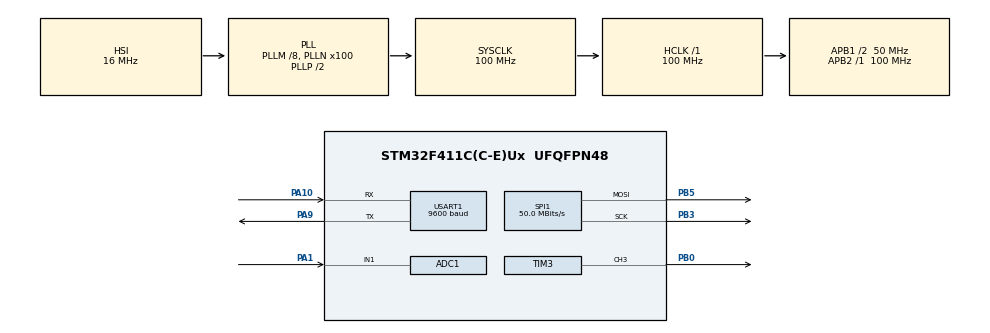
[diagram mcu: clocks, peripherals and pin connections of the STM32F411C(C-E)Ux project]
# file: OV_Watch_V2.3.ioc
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ADC1.Channel-0\#ChannelRegularConversion=ADC_CHANNEL_1
ADC1.NbrOfConversionFlag=1
ADC1.Rank-0\#ChannelRegularConversion=1
ADC1.SamplingTime-0\#ChannelRegularConversion=ADC_SAMPLETIME_3CYCLES
ADC1.master=1
Dma.Request0=SPI1_TX
Dma.Request1=USART1_RX
Dma.Request2=USART1_TX
Dma.SPI1_TX.0.Direction=DMA_MEMORY_TO_PERIPH
Dma.SPI1_TX.0.FIFOMode=DMA_FIFOMODE_DISABLE
Dma.SPI1_TX.0.Instance=DMA2_Stream2
Dma.SPI1_TX.0.MemDataAlignment=DMA_MDATAALIGN_HALFWORD
Dma.SPI1_TX.0.MemInc=DMA_MINC_ENABLE
Dma.SPI1_TX.0.Mode=DMA_NORMAL
Dma.SPI1_TX.0.PeriphDataAlignment=DMA_PDATAALIGN_HALFWORD
Dma.SPI1_TX.0.PeriphInc=DMA_PINC_DISABLE
Dma.SPI1_TX.0.Priority=DMA_PRIORITY_LOW
Dma.USART1_RX.1.Direction=DMA_PERIPH_TO_MEMORY
Dma.USART1_RX.1.FIFOMode=DMA_FIFOMODE_DISABLE
Dma.USART1_RX.1.Instance=DMA2_Stream5
Dma.USART1_RX.1.MemDataAlignment=DMA_MDATAALIGN_BYTE
Dma.USART1_RX.1.MemInc=DMA_MINC_ENABLE
Dma.USART1_RX.1.Mode=DMA_NORMAL
Dma.USART1_RX.1.PeriphDataAlignment=DMA_PDATAALIGN_BYTE
Dma.USART1_RX.1.PeriphInc=DMA_PINC_DISABLE
Dma.USART1_RX.1.Priority=DMA_PRIORITY_LOW
Dma.USART1_TX.2.Direction=DMA_MEMORY_TO_PERIPH
Dma.USART1_TX.2.FIFOMode=DMA_FIFOMODE_DISABLE
Dma.USART1_TX.2.Instance=DMA2_Stream7
Dma.USART1_TX.2.MemDataAlignment=DMA_MDATAALIGN_BYTE
Dma.USART1_TX.2.MemInc=DMA_MINC_ENABLE
Dma.USART1_TX.2.Mode=DMA_NORMAL
Dma.USART1_TX.2.PeriphDataAlignment=DMA_PDATAALIGN_BYTE
Dma.USART1_TX.2.PeriphInc=DMA_PINC_DISABLE
Dma.USART1_TX.2.Priority=DMA_PRIORITY_LOW
FREERTOS.Tasks01=defaultTask,24,128,StartDefaultTask,Default,NULL,Dynamic,NULL,NULL
FREERTOS.configUSE_IDLE_HOOK=1
FREERTOS.configUSE_TICK_HOOK=1
Mcu.Family=STM32F4
Mcu.Name=STM32F411C(C-E)Ux
Mcu.Package=UFQFPN48
NVIC.DMA2_Stream2_IRQn=true\:5\:0\:false\:false\:true\:true\:false\:true\:true
NVIC.DMA2_Stream5_IRQn=true\:5\:0\:false\:false\:true\:true\:false\:true\:true
NVIC.DMA2_Stream7_IRQn=true\:5\:0\:false\:false\:true\:true\:false\:true\:true
NVIC.PriorityGroup=NVIC_PRIORITYGROUP_4
NVIC.RTC_WKUP_IRQn=true\:5\:0\:false\:false\:true\:true\:true\:true\:true
NVIC.TIM1_UP_TIM10_IRQn=true\:15\:0\:false\:false\:true\:false\:false\:true\:true
NVIC.TimeBase=TIM1_UP_TIM10_IRQn
NVIC.TimeBaseIP=TIM1
NVIC.USART1_IRQn=true\:5\:0\:false\:false\:true\:true\:true\:true\:true
PA1.Signal=ADCx_IN1
PA10.Mode=Asynchronous
PA10.Signal=USART1_RX
PA13.Mode=Serial_Wire
PA13.Signal=SYS_JTMS-SWDIO
PA14.Mode=Serial_Wire
PA14.Signal=SYS_JTCK-SWCLK
PA9.Mode=Asynchronous
PA9.Signal=USART1_TX
PB0.Signal=S_TIM3_CH3
PB3.Mode=TX_Only_Simplex_Unidirect_Master
PB3.Signal=SPI1_SCK
PB5.Mode=TX_Only_Simplex_Unidirect_Master
PB5.Signal=SPI1_MOSI
PC14-OSC32_IN.Mode=LSE-External-Oscillator
PC14-OSC32_IN.Signal=RCC_OSC32_IN
PC15-OSC32_OUT.Mode=LSE-External-Oscillator
PC15-OSC32_OUT.Signal=RCC_OSC32_OUT
ProjectManager.HeapSize=0x200
ProjectManager.StackSize=0x400
ProjectManager.TargetToolchain=MDK-ARM V5.32
RCC.48MHZClocksFreq_Value=50000000
RCC.AHBFreq_Value=100000000
RCC.APB1CLKDivider=RCC_HCLK_DIV2
RCC.APB1Freq_Value=50000000
RCC.APB1TimFreq_Value=100000000
RCC.APB2Freq_Value=100000000
RCC.APB2TimFreq_Value=100000000
RCC.CortexFreq_Value=100000000
RCC.HCLKFreq_Value=100000000
RCC.HSE_VALUE=25000000
RCC.HSI_VALUE=16000000
RCC.PLLM=8
RCC.PLLN=100
RCC.RCC_RTC_Clock_Source=RCC_RTCCLKSOURCE_LSE
RCC.RCC_RTC_Clock_SourceVirtual=RCC_RTCCLKSOURCE_LSE
RCC.SYSCLKFreq_VALUE=100000000
RCC.SYSCLKSource=RCC_SYSCLKSOURCE_PLLCLK
RCC.VCOOutputFreq_Value=200000000
RTC.Date=21
RTC.Hours=11
RTC.Minutes=59
RTC.Month=RTC_MONTH_MAY
RTC.Seconds=55
RTC.WakeUpClock=RTC_WAKEUPCLOCK_RTCCLK_DIV16
RTC.WakeUpCounter=2000
RTC.WeekDay=RTC_WEEKDAY_SUNDAY
RTC.Year=23
SH.ADCx_IN1.0=ADC1_IN1,IN1
SH.S_TIM3_CH3.0=TIM3_CH3,PWM Generation3 CH3
SPI1.CLKPhase=SPI_PHASE_2EDGE
SPI1.CLKPolarity=SPI_POLARITY_HIGH
SPI1.CalculateBaudRate=50.0 MBits/s
SPI1.Direction=SPI_DIRECTION_2LINES
SPI1.Mode=SPI_MODE_MASTER
SPI1.VirtualType=VM_MASTER
TIM3.Channel-PWM\ Generation3\ CH3=TIM_CHANNEL_3
TIM3.Period=300
TIM3.Prescaler=99
USART1.BaudRate=9600
USART1.VirtualMode=VM_ASYNC
VP_FREERTOS_VS_CMSIS_V2.Mode=CMSIS_V2
VP_RTC_VS_RTC_Activate.Mode=RTC_Enabled
VP_RTC_VS_RTC_Calendar.Mode=RTC_Calendar
VP_RTC_VS_RTC_WakeUp_intern.Mode=WakeUp
VP_SYS_VS_tim1.Mode=TIM1
board=custom

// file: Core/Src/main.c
/* USER CODE BEGIN Header */
/**
  ******************************************************************************
  * @file           : main.c
  * @brief          : Main program body
  ******************************************************************************
  * @attention
  *
  * Copyright (c) 2023 STMicroelectronics.
  * All rights reserved.
  *
  * This software is licensed under terms that can be found in the LICENSE file
  * in the root directory of this software component.
  * If no LICENSE file comes with this software, it is provided AS-IS.
  *
  ******************************************************************************
  */
/* USER CODE END Header */
#include "main.h"
#include "cmsis_os.h"
#include "adc.h"
#include "dma.h"
#include "rtc.h"
#include "spi.h"
#include "tim.h"
#include "usart.h"
#include "gpio.h"

/* USER CODE BEGIN Includes */
#include "stm32f4xx_it.h"
#include "delay.h"
#include "lcd.h"
#include "lcd_init.h"
#include "CST816.h"
#include "SPL06_001.h"
#include "LSM303.h"
#include "mpu6050.h"
#include "AHT21.h"
#include "em70x8.h"
#include "BL24C02.h"
#include "power.h"
#include "key.h"
#include "KT6328.h"
#include "inv_mpu_dmp_motion_driver.h"
//gui
#include "lvgl.h"
#include "lv_port_disp.h"
#include "lv_port_indev.h"
#include "ui.h"
//
#include "user_MPUCheckTask.h"

/* USER CODE END Includes */

/* USER CODE BEGIN PV */
uint8_t Sensor_LSM303_Erro=1;
uint8_t Sensor_AHT21_Erro=1;
uint8_t Sensor_SPL_Erro=1;
uint8_t Sensor_EM_Erro=1;
uint8_t Sensor_MPU_Erro=1;
/* USER CODE END PV */

void SystemClock_Config(void);
void MX_FREERTOS_Init(void);

int main(void)
{

  /* MCU Configuration--------------------------------------------------------*/

  /* Reset of all peripherals, Initializes the Flash interface and the Systick. */
  HAL_Init();

  /* Configure the system clock */
  SystemClock_Config();

  /* Initialize all configured peripherals */
  MX_GPIO_Init();
  MX_DMA_Init();
  MX_ADC1_Init();
  MX_RTC_Init();
  MX_SPI1_Init();
  MX_TIM3_Init();
  MX_USART1_UART_Init();
  /* USER CODE BEGIN 2 */
	//RTC Wake
	if (HAL_RTCEx_SetWakeUpTimer_IT(&hrtc, 1500, RTC_WAKEUPCLOCK_RTCCLK_DIV16) != HAL_OK)
  {
    Error_Handler();
  }
	//usart start
	HAL_UART_Receive_DMA(&huart1,(uint8_t*)HardInt_receive_str,25);
	__HAL_UART_ENABLE_IT(&huart1,UART_IT_IDLE);

	//PWM Start
	HAL_TIM_PWM_Start(&htim3,TIM_CHANNEL_3);

	//sys delay
	delay_init();
	//wait
	delay_ms(3000);

	//power
	Power_Init();

	//key
	Key_Port_Init();

	//sensor
	Sensor_AHT21_Erro  = AHT_Init();
	Sensor_LSM303_Erro = LSM303DLH_Init();
	LSM303DLH_Sleep();
	Sensor_SPL_Erro = SPL_init();
	Sensor_MPU_Erro = MPU_Init();
	Sensor_EM_Erro = EM7028_hrs_init();
	EM7028_hrs_DisEnable();

	if(!Sensor_MPU_Erro)
	{
		if(MPU_isHorizontal())
			user_MPU_Wrist_State = WRIST_UP;
		else
			user_MPU_Wrist_State = WRIST_DOWN;
		dmp_set_pedometer_step_count(0);
	}

	//BLE
	KT6328_GPIO_Init();
	KT6328_Enable();

	//touch
	CST816_GPIO_Init();
	CST816_RESET();

	//lcd
	LCD_Init();
	LCD_Fill(0,0,LCD_W,LCD_H,BLACK);
	delay_ms(10);
	LCD_Set_Light(50);
	LCD_ShowString(72,LCD_H/2,(uint8_t*)"Welcome!",WHITE,BLACK,24,0);//12*6,16*8,24*12,32*16
	LCD_ShowString(42,LCD_H/2+48,(uint8_t*)"OV-Watch V2.3",WHITE,BLACK,24,0);
	delay_ms(1000);
	LCD_Fill(0,LCD_H/2-24,LCD_W,LCD_H/2+49,BLACK);

	//set the KT6328 BautRate 9600
	//default is 115200
	//printf("AT+CT01\r\n");

	//LVGL init
	lv_init();
	lv_port_disp_init();
	lv_port_indev_init();
	ui_init();

  /* USER CODE END 2 */

  /* Init scheduler */
  osKernelInitialize();  /* Call init function for freertos objects (in freertos.c) */
  MX_FREERTOS_Init();

  /* Start scheduler */
  osKernelStart();

  /* We should never get here as control is now taken by the scheduler */
  /* Infinite loop */
  while (1)
  {

  }
}

void SystemClock_Config(void)
{
  RCC_OscInitTypeDef RCC_OscInitStruct = {0};
  RCC_ClkInitTypeDef RCC_ClkInitStruct = {0};

  /** Configure the main internal regulator output voltage
  */
  __HAL_RCC_PWR_CLK_ENABLE();
  __HAL_PWR_VOLTAGESCALING_CONFIG(PWR_REGULATOR_VOLTAGE_SCALE1);

  /** Initializes the RCC Oscillators according to the specified parameters
  * in the RCC_OscInitTypeDef structure.
  */
  RCC_OscInitStruct.OscillatorType = RCC_OSCILLATORTYPE_HSI|RCC_OSCILLATORTYPE_LSE;
  RCC_OscInitStruct.LSEState = RCC_LSE_ON;
  RCC_OscInitStruct.HSIState = RCC_HSI_ON;
  RCC_OscInitStruct.HSICalibrationValue = RCC_HSICALIBRATION_DEFAULT;
  RCC_OscInitStruct.PLL.PLLState = RCC_PLL_ON;
  RCC_OscInitStruct.PLL.PLLSource = RCC_PLLSOURCE_HSI;
  RCC_OscInitStruct.PLL.PLLM = 8;
  RCC_OscInitStruct.PLL.PLLN = 100;
  RCC_OscInitStruct.PLL.PLLP = RCC_PLLP_DIV2;
  RCC_OscInitStruct.PLL.PLLQ = 4;
  if (HAL_RCC_OscConfig(&RCC_OscInitStruct) != HAL_OK)
  {
    Error_Handler();
  }

  /** Initializes the CPU, AHB and APB buses clocks
  */
  RCC_ClkInitStruct.ClockType = RCC_CLOCKTYPE_HCLK|RCC_CLOCKTYPE_SYSCLK
                              |RCC_CLOCKTYPE_PCLK1|RCC_CLOCKTYPE_PCLK2;
  RCC_ClkInitStruct.SYSCLKSource = RCC_SYSCLKSOURCE_PLLCLK;
  RCC_ClkInitStruct.AHBCLKDivider = RCC_SYSCLK_DIV1;
  RCC_ClkInitStruct.APB1CLKDivider = RCC_HCLK_DIV2;
  RCC_ClkInitStruct.APB2CLKDivider = RCC_HCLK_DIV1;

  if (HAL_RCC_ClockConfig(&RCC_ClkInitStruct, FLASH_LATENCY_3) != HAL_OK)
  {
    Error_Handler();
  }
}

void HAL_TIM_PeriodElapsedCallback(TIM_HandleTypeDef *htim)
{
  if (htim->Instance == TIM1) {
    HAL_IncTick();
  }
}

void Error_Handler(void)
{
  __disable_irq();
  while (1)
  {
  }
}

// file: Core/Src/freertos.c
/* USER CODE BEGIN Header */
/**
  ******************************************************************************
  * File Name          : freertos.c
  * Description        : Code for freertos applications
  ******************************************************************************
  * @attention
  *
  * Copyright (c) 2023 STMicroelectronics.
  * All rights reserved.
  *
  * This software is licensed under terms that can be found in the LICENSE file
  * in the root directory of this software component.
  * If no LICENSE file comes with this software, it is provided AS-IS.
  *
  ******************************************************************************
  */
/* USER CODE END Header */

#include "FreeRTOS.h"
#include "task.h"
#include "main.h"
#include "cmsis_os.h"

/* USER CODE BEGIN Includes */
#include "user_TasksInit.h"
/* USER CODE END Includes */

/* Definitions for defaultTask */
osThreadId_t defaultTaskHandle;
const osThreadAttr_t defaultTask_attributes = {
  .name = "defaultTask",
  .stack_size = 128 * 4,
  .priority = (osPriority_t) osPriorityNormal,
};

void StartDefaultTask(void *argument);

void MX_FREERTOS_Init(void); /* (MISRA C 2004 rule 8.1) */

/* Hook prototypes */
void vApplicationIdleHook(void);
void vApplicationTickHook(void);

/* USER CODE BEGIN 2 */
void vApplicationIdleHook( void )
{
   /* vApplicationIdleHook() will only be called if configUSE_IDLE_HOOK is set
   to 1 in FreeRTOSConfig.h. It will be called on each iteration of the idle
   task. It is essential that code added to this hook function never attempts
   to block in any way (for example, call xQueueReceive() with a block time
   specified, or call vTaskDelay()). If the application makes use of the
   vTaskDelete() API function (as this demo application does) then it is also
   important that vApplicationIdleHook() is permitted to return to its calling
   function, because it is the responsibility of the idle task to clean up
   memory allocated by the kernel to any task that has since been deleted. */
}
/* USER CODE END 2 */

/* USER CODE BEGIN 3 */
void vApplicationTickHook( void )
{
   /* This function will be called by each tick interrupt if
   configUSE_TICK_HOOK is set to 1 in FreeRTOSConfig.h. User code can be
   added here, but the tick hook is called from an interrupt context, so
   code must not attempt to block, and only the interrupt safe FreeRTOS API
   functions can be used (those that end in FromISR()). */
	TaskTickHook();
}
/* USER CODE END 3 */

void MX_FREERTOS_Init(void) {
  /* USER CODE BEGIN Init */
	User_Tasks_Init();
  /* USER CODE END Init */

  /* Create the thread(s) */
  /* creation of defaultTask */
  defaultTaskHandle = osThreadNew(StartDefaultTask, NULL, &defaultTask_attributes);

}

void StartDefaultTask(void *argument)
{
  for(;;)
  {
    osDelay(1);
  }
}
